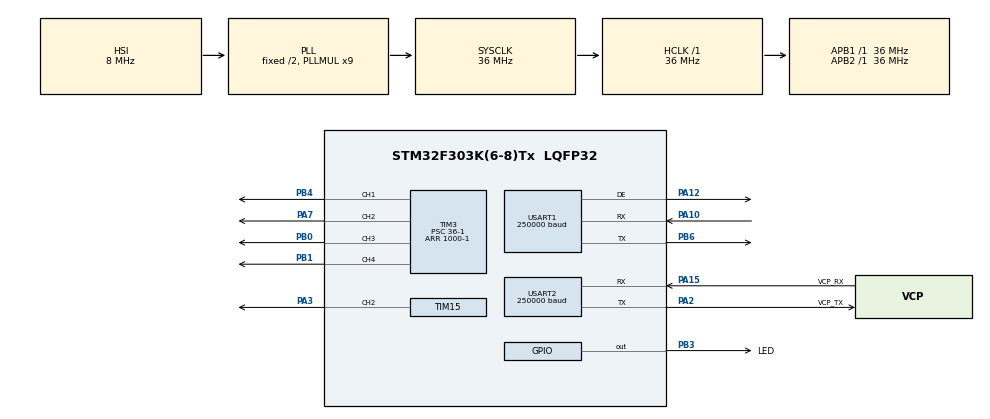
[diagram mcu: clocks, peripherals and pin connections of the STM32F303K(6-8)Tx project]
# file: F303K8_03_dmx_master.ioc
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Mcu.Family=STM32F3
Mcu.Name=STM32F303K(6-8)Tx
Mcu.Package=LQFP32
NVIC.PriorityGroup=NVIC_PRIORITYGROUP_4
NVIC.TIM1_BRK_TIM15_IRQn=true\:0\:0\:false\:false\:true\:true\:true\:true
NVIC.TIM2_IRQn=true\:0\:0\:false\:false\:true\:true\:true\:true
PA10.Mode=Asynchronous
PA10.Signal=USART1_RX
PA12.Mode=Hardware Flow Control (RS485)
PA12.Signal=USART1_DE
PA13.GPIO_Label=SWDIO
PA13.Mode=Serial_Wire
PA13.Signal=SYS_JTMS-SWDIO
PA14.GPIO_Label=SWCLK
PA14.Mode=Serial_Wire
PA14.Signal=SYS_JTCK-SWCLK
PA15.GPIO_Label=VCP_RX
PA15.Mode=Asynchronous
PA15.Signal=USART2_RX
PA2.GPIO_Label=VCP_TX
PA2.Mode=Asynchronous
PA2.Signal=USART2_TX
PA3.Signal=S_TIM15_CH2
PA7.Signal=S_TIM3_CH2
PB0.Signal=S_TIM3_CH3
PB1.Signal=S_TIM3_CH4
PB3.GPIO_Label=LED
PB3.Signal=GPIO_Output
PB4.Signal=S_TIM3_CH1
PB6.Mode=Asynchronous
PB6.Signal=USART1_TX
PF0\ /\ OSC_IN.GPIO_Label=MCO
PF0\ /\ OSC_IN.Mode=HSE-External-Clock-Source
PF0\ /\ OSC_IN.Signal=RCC_OSC_IN
ProjectManager.HeapSize=0x200
ProjectManager.StackSize=0x400
ProjectManager.TargetToolchain=STM32CubeIDE
RCC.AHBFreq_Value=36000000
RCC.APB1Freq_Value=36000000
RCC.APB1TimFreq_Value=36000000
RCC.APB2Freq_Value=36000000
RCC.APB2TimFreq_Value=36000000
RCC.CortexFreq_Value=36000000
RCC.HCLKFreq_Value=36000000
RCC.HSE_VALUE=8000000
RCC.HSI_VALUE=8000000
RCC.PLLMUL=RCC_PLL_MUL9
RCC.SYSCLKFreq_VALUE=36000000
RCC.SYSCLKSourceVirtual=RCC_SYSCLKSOURCE_PLLCLK
RCC.Usart1ClockSelection=RCC_USART1CLKSOURCE_HSI
SH.S_TIM15_CH2.0=TIM15_CH2,Output Compare2 CH2
SH.S_TIM3_CH1.0=TIM3_CH1,PWM Generation1 CH1
SH.S_TIM3_CH2.0=TIM3_CH2,PWM Generation2 CH2
SH.S_TIM3_CH3.0=TIM3_CH3,PWM Generation3 CH3
SH.S_TIM3_CH4.0=TIM3_CH4,PWM Generation4 CH4
TIM15.Channel-Output\ Compare2\ CH2=TIM_CHANNEL_2
TIM15.Period=104
TIM15.Prescaler=36-1
TIM15.Pulse-Output\ Compare2\ CH2=104
TIM2.Period=44
TIM2.Prescaler=36-1
TIM3.Channel-PWM\ Generation1\ CH1=TIM_CHANNEL_1
TIM3.Channel-PWM\ Generation2\ CH2=TIM_CHANNEL_2
TIM3.Channel-PWM\ Generation3\ CH3=TIM_CHANNEL_3
TIM3.Channel-PWM\ Generation4\ CH4=TIM_CHANNEL_4
TIM3.OCPolarity_1=TIM_OCPOLARITY_HIGH
TIM3.OCPolarity_2=TIM_OCPOLARITY_HIGH
TIM3.OCPolarity_3=TIM_OCPOLARITY_HIGH
TIM3.OCPolarity_4=TIM_OCPOLARITY_HIGH
TIM3.Period=1000-1
TIM3.Prescaler=36-1
USART1.BaudRate=250000
USART1.VirtualMode-Asynchronous=VM_ASYNC
USART1.VirtualMode-Hardware\ Flow\ Control\ (RS485)=VM_ASYNC
USART2.BaudRate=250000
USART2.Mode=MODE_TX
USART2.VirtualMode-Asynchronous=VM_ASYNC
VP_TIM15_VS_ClockSourceINT.Mode=Internal
VP_TIM2_VS_ClockSourceINT.Mode=Internal
VP_TIM3_VS_ClockSourceINT.Mode=Internal
board=NUCLEO-F303K8

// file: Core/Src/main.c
/* USER CODE BEGIN Header */
/**
 ******************************************************************************
 * @file           : main.c
 * @brief          : Main program body
 ******************************************************************************
 * @attention
 *
 * Copyright (c) 2024 STMicroelectronics.
 * All rights reserved.
 *
 * This software is licensed under terms that can be found in the LICENSE file
 * in the root directory of this software component.
 * If no LICENSE file comes with this software, it is provided AS-IS.
 *
 ******************************************************************************
 * NUCLEO-F303K8 pwm output
 *
 * https://github.com/kucar17/UART-Interrupt-with-PWM-STM32-Nucleo-F303K8
 * test online edit
 ******************************************************************************
 */
/* USER CODE END Header */
#include "main.h"

/* USER CODE BEGIN Includes */
#include "dmx_transmitter.h"

/* USER CODE END Includes */

/* USER CODE BEGIN PD */

/* For timer with clock 45MHz and prescaler 0*/
#define USEC_COUNT (95/2)

/* USER CODE END PD */

TIM_HandleTypeDef htim2;
TIM_HandleTypeDef htim3;
TIM_HandleTypeDef htim15;

UART_HandleTypeDef huart1;
UART_HandleTypeDef huart2;

/* USER CODE BEGIN PV */
uint16_t pwmR, pwmG, pwmB;
int8_t stepR, stepG = 20, stepB = -40;

/* USER CODE END PV */

void SystemClock_Config(void);
static void MX_GPIO_Init(void);
static void MX_USART2_UART_Init(void);
static void MX_USART1_UART_Init(void);
static void MX_TIM3_Init(void);
static void MX_TIM2_Init(void);
static void MX_TIM15_Init(void);

/* USER CODE BEGIN 0 */
int _write(int file, char *ptr, int len) {
	HAL_UART_Transmit(&huart2, (uint8_t*) ptr, len, HAL_MAX_DELAY);
	return len;
}

/* USER CODE END 0 */

int main(void)
{

  /* MCU Configuration--------------------------------------------------------*/

  /* Reset of all peripherals, Initializes the Flash interface and the Systick. */
  HAL_Init();

  /* Configure the system clock */
  SystemClock_Config();

  /* Initialize all configured peripherals */
  MX_GPIO_Init();
  MX_USART2_UART_Init();
  MX_USART1_UART_Init();
  MX_TIM3_Init();
  MX_TIM2_Init();
  MX_TIM15_Init();
  /* USER CODE BEGIN 2 */

  uint8_t test_packet[512];
  for (int i=0; i<sizeof(test_packet); i++)
    test_packet[i] = i & 0xFF;

	pwmR = 0;
	pwmG = 580;
	pwmB = 900;

	TIM3->CCR1 = pwmR;
	TIM3->CCR2 = pwmG;
	TIM3->CCR3 = pwmB;
	TIM3->CCR4 = 500;
	HAL_TIM_PWM_Start(&htim3, TIM_CHANNEL_1); //coment test
	HAL_TIM_PWM_Start(&htim3, TIM_CHANNEL_2);
	HAL_TIM_PWM_Start(&htim3, TIM_CHANNEL_3);
	HAL_TIM_PWM_Start(&htim3, TIM_CHANNEL_4);

	printf("\r\nSTM32F303 HALinit b0.01\r\n");
	printf("\r\n36MHz internal clock\r\n");
	printf("UART1 250kbps RS485\r\n");
	printf("UART2 250kbps VCP debug port\r\n");
	printf("TIM3 4xPWM@1kHz CH1-PB4, CH2-PA7, CH3-PB0 ,CH4-PB1\r\n");

  /* USER CODE END 2 */

  /* Infinite loop */
  /* USER CODE BEGIN WHILE */
	while (1) {

	    dmx_send(test_packet, sizeof(test_packet));

	    HAL_Delay(1000);

/*
		//HAL_GPIO_TogglePin(LED_GPIO_Port, LED_Pin);
		// HAL_GPIO_TogglePin(LED2_GPIO_Port, LED2_Pin);
		//HAL_Delay(500);
		if (pwmR == 0)    stepR = 10;
		if (pwmR == 1000) stepR = -10;
		pwmR += stepR;
		if (pwmG == 0)    stepG = 20;
		if (pwmG == 1000) stepG = -20;
		pwmG += stepG;
		if (pwmB == 0)    stepB = 40;
		if (pwmB == 1000) stepB = -40;
		pwmB += stepB;

		TIM3->CCR1 = pwmR;
		TIM3->CCR2 = pwmG;
		TIM3->CCR3 = pwmB;
		HAL_Delay(9);
*/
    /* USER CODE END WHILE */

	}
}

void SystemClock_Config(void)
{
  RCC_OscInitTypeDef RCC_OscInitStruct = {0};
  RCC_ClkInitTypeDef RCC_ClkInitStruct = {0};
  RCC_PeriphCLKInitTypeDef PeriphClkInit = {0};

  /** Initializes the RCC Oscillators according to the specified parameters
  * in the RCC_OscInitTypeDef structure.
  */
  RCC_OscInitStruct.OscillatorType = RCC_OSCILLATORTYPE_HSI;
  RCC_OscInitStruct.HSIState = RCC_HSI_ON;
  RCC_OscInitStruct.HSICalibrationValue = RCC_HSICALIBRATION_DEFAULT;
  RCC_OscInitStruct.PLL.PLLState = RCC_PLL_ON;
  RCC_OscInitStruct.PLL.PLLSource = RCC_PLLSOURCE_HSI;
  RCC_OscInitStruct.PLL.PLLMUL = RCC_PLL_MUL9;
  if (HAL_RCC_OscConfig(&RCC_OscInitStruct) != HAL_OK)
  {
    Error_Handler();
  }

  /** Initializes the CPU, AHB and APB buses clocks
  */
  RCC_ClkInitStruct.ClockType = RCC_CLOCKTYPE_HCLK|RCC_CLOCKTYPE_SYSCLK
                              |RCC_CLOCKTYPE_PCLK1|RCC_CLOCKTYPE_PCLK2;
  RCC_ClkInitStruct.SYSCLKSource = RCC_SYSCLKSOURCE_PLLCLK;
  RCC_ClkInitStruct.AHBCLKDivider = RCC_SYSCLK_DIV1;
  RCC_ClkInitStruct.APB1CLKDivider = RCC_HCLK_DIV1;
  RCC_ClkInitStruct.APB2CLKDivider = RCC_HCLK_DIV1;

  if (HAL_RCC_ClockConfig(&RCC_ClkInitStruct, FLASH_LATENCY_1) != HAL_OK)
  {
    Error_Handler();
  }
  PeriphClkInit.PeriphClockSelection = RCC_PERIPHCLK_USART1;
  PeriphClkInit.Usart1ClockSelection = RCC_USART1CLKSOURCE_HSI;
  if (HAL_RCCEx_PeriphCLKConfig(&PeriphClkInit) != HAL_OK)
  {
    Error_Handler();
  }
}

static void MX_TIM2_Init(void)
{

  TIM_ClockConfigTypeDef sClockSourceConfig = {0};
  TIM_MasterConfigTypeDef sMasterConfig = {0};

  htim2.Instance = TIM2;
  htim2.Init.Prescaler = 36-1;
  htim2.Init.CounterMode = TIM_COUNTERMODE_UP;
  htim2.Init.Period = 44;
  htim2.Init.ClockDivision = TIM_CLOCKDIVISION_DIV1;
  htim2.Init.AutoReloadPreload = TIM_AUTORELOAD_PRELOAD_DISABLE;
  if (HAL_TIM_Base_Init(&htim2) != HAL_OK)
  {
    Error_Handler();
  }
  sClockSourceConfig.ClockSource = TIM_CLOCKSOURCE_INTERNAL;
  if (HAL_TIM_ConfigClockSource(&htim2, &sClockSourceConfig) != HAL_OK)
  {
    Error_Handler();
  }
  sMasterConfig.MasterOutputTrigger = TIM_TRGO_RESET;
  sMasterConfig.MasterSlaveMode = TIM_MASTERSLAVEMODE_DISABLE;
  if (HAL_TIMEx_MasterConfigSynchronization(&htim2, &sMasterConfig) != HAL_OK)
  {
    Error_Handler();
  }
  /* USER CODE BEGIN TIM2_Init 2 */

  /*
   * Update flag should be cleaned, to prevent unwanted interrupt. Inerrupt
   * flag is generated earlier, by following call:
   * HAL_TIM_Base_Init -> TIM_Base_SetConfig -> TIMx->EGR = TIM_EGR_UG
   */
  __HAL_TIM_CLEAR_IT(&htim2, TIM_FLAG_UPDATE);
  /* Enable interrupts, but don't enable timer counter, to prevent interrupts */
  __HAL_TIM_ENABLE_IT(&htim2, TIM_IT_UPDATE);

  /* USER CODE END TIM2_Init 2 */

}

static void MX_TIM3_Init(void)
{

  TIM_ClockConfigTypeDef sClockSourceConfig = {0};
  TIM_MasterConfigTypeDef sMasterConfig = {0};
  TIM_OC_InitTypeDef sConfigOC = {0};

  htim3.Instance = TIM3;
  htim3.Init.Prescaler = 36-1;
  htim3.Init.CounterMode = TIM_COUNTERMODE_UP;
  htim3.Init.Period = 1000-1;
  htim3.Init.ClockDivision = TIM_CLOCKDIVISION_DIV1;
  htim3.Init.AutoReloadPreload = TIM_AUTORELOAD_PRELOAD_DISABLE;
  if (HAL_TIM_Base_Init(&htim3) != HAL_OK)
  {
    Error_Handler();
  }
  sClockSourceConfig.ClockSource = TIM_CLOCKSOURCE_INTERNAL;
  if (HAL_TIM_ConfigClockSource(&htim3, &sClockSourceConfig) != HAL_OK)
  {
    Error_Handler();
  }
  if (HAL_TIM_PWM_Init(&htim3) != HAL_OK)
  {
    Error_Handler();
  }
  sMasterConfig.MasterOutputTrigger = TIM_TRGO_RESET;
  sMasterConfig.MasterSlaveMode = TIM_MASTERSLAVEMODE_DISABLE;
  if (HAL_TIMEx_MasterConfigSynchronization(&htim3, &sMasterConfig) != HAL_OK)
  {
    Error_Handler();
  }
  sConfigOC.OCMode = TIM_OCMODE_PWM1;
  sConfigOC.Pulse = 0;
  sConfigOC.OCPolarity = TIM_OCPOLARITY_HIGH;
  sConfigOC.OCFastMode = TIM_OCFAST_DISABLE;
  if (HAL_TIM_PWM_ConfigChannel(&htim3, &sConfigOC, TIM_CHANNEL_1) != HAL_OK)
  {
    Error_Handler();
  }
  if (HAL_TIM_PWM_ConfigChannel(&htim3, &sConfigOC, TIM_CHANNEL_2) != HAL_OK)
  {
    Error_Handler();
  }
  if (HAL_TIM_PWM_ConfigChannel(&htim3, &sConfigOC, TIM_CHANNEL_3) != HAL_OK)
  {
    Error_Handler();
  }
  if (HAL_TIM_PWM_ConfigChannel(&htim3, &sConfigOC, TIM_CHANNEL_4) != HAL_OK)
  {
    Error_Handler();
  }
  HAL_TIM_MspPostInit(&htim3);

}

static void MX_TIM15_Init(void)
{

  TIM_ClockConfigTypeDef sClockSourceConfig = {0};
  TIM_MasterConfigTypeDef sMasterConfig = {0};
  TIM_OC_InitTypeDef sConfigOC = {0};
  TIM_BreakDeadTimeConfigTypeDef sBreakDeadTimeConfig = {0};

  htim15.Instance = TIM15;
  htim15.Init.Prescaler = 36-1;
  htim15.Init.CounterMode = TIM_COUNTERMODE_UP;
  htim15.Init.Period = 104;
  htim15.Init.ClockDivision = TIM_CLOCKDIVISION_DIV1;
  htim15.Init.RepetitionCounter = 0;
  htim15.Init.AutoReloadPreload = TIM_AUTORELOAD_PRELOAD_DISABLE;
  if (HAL_TIM_Base_Init(&htim15) != HAL_OK)
  {
    Error_Handler();
  }
  sClockSourceConfig.ClockSource = TIM_CLOCKSOURCE_INTERNAL;
  if (HAL_TIM_ConfigClockSource(&htim15, &sClockSourceConfig) != HAL_OK)
  {
    Error_Handler();
  }
  if (HAL_TIM_OC_Init(&htim15) != HAL_OK)
  {
    Error_Handler();
  }
  sMasterConfig.MasterOutputTrigger = TIM_TRGO_RESET;
  sMasterConfig.MasterSlaveMode = TIM_MASTERSLAVEMODE_DISABLE;
  if (HAL_TIMEx_MasterConfigSynchronization(&htim15, &sMasterConfig) != HAL_OK)
  {
    Error_Handler();
  }
  sConfigOC.OCMode = TIM_OCMODE_TIMING;
  sConfigOC.Pulse = 104;
  sConfigOC.OCPolarity = TIM_OCPOLARITY_HIGH;
  sConfigOC.OCNPolarity = TIM_OCNPOLARITY_HIGH;
  sConfigOC.OCFastMode = TIM_OCFAST_DISABLE;
  sConfigOC.OCIdleState = TIM_OCIDLESTATE_RESET;
  sConfigOC.OCNIdleState = TIM_OCNIDLESTATE_RESET;
  if (HAL_TIM_OC_ConfigChannel(&htim15, &sConfigOC, TIM_CHANNEL_2) != HAL_OK)
  {
    Error_Handler();
  }
  sBreakDeadTimeConfig.OffStateRunMode = TIM_OSSR_DISABLE;
  sBreakDeadTimeConfig.OffStateIDLEMode = TIM_OSSI_DISABLE;
  sBreakDeadTimeConfig.LockLevel = TIM_LOCKLEVEL_OFF;
  sBreakDeadTimeConfig.DeadTime = 0;
  sBreakDeadTimeConfig.BreakState = TIM_BREAK_DISABLE;
  sBreakDeadTimeConfig.BreakPolarity = TIM_BREAKPOLARITY_HIGH;
  sBreakDeadTimeConfig.BreakFilter = 0;
  sBreakDeadTimeConfig.AutomaticOutput = TIM_AUTOMATICOUTPUT_DISABLE;
  if (HAL_TIMEx_ConfigBreakDeadTime(&htim15, &sBreakDeadTimeConfig) != HAL_OK)
  {
    Error_Handler();
  }
  /* USER CODE BEGIN TIM15_Init 2 */

  /*
    * Update flag should be cleaned, to prevent unwanted interrupt. Inerrupt
    * flag is generated earlier, by following call:
    * HAL_TIM_Base_Init -> TIM_Base_SetConfig -> TIMx->EGR = TIM_EGR_UG
    */
   __HAL_TIM_CLEAR_IT(&htim15, TIM_FLAG_UPDATE);
   /* Enable interrupts, but don't enable timer counter, to prevent interrupts */
   __HAL_TIM_ENABLE_IT(&htim15, TIM_IT_UPDATE);
   __HAL_TIM_ENABLE_IT(&htim15, TIM_IT_CC1);

  /* USER CODE END TIM15_Init 2 */
  HAL_TIM_MspPostInit(&htim15);

}

static void MX_USART1_UART_Init(void)
{

  huart1.Instance = USART1;
  huart1.Init.BaudRate = 250000;
  huart1.Init.WordLength = UART_WORDLENGTH_8B;
  huart1.Init.StopBits = UART_STOPBITS_1;
  huart1.Init.Parity = UART_PARITY_NONE;
  huart1.Init.Mode = UART_MODE_TX_RX;
  huart1.Init.HwFlowCtl = UART_HWCONTROL_NONE;
  huart1.Init.OverSampling = UART_OVERSAMPLING_16;
  huart1.Init.OneBitSampling = UART_ONE_BIT_SAMPLE_DISABLE;
  huart1.AdvancedInit.AdvFeatureInit = UART_ADVFEATURE_NO_INIT;
  if (HAL_RS485Ex_Init(&huart1, UART_DE_POLARITY_HIGH, 0, 0) != HAL_OK)
  {
    Error_Handler();
  }

}

static void MX_USART2_UART_Init(void)
{

  huart2.Instance = USART2;
  huart2.Init.BaudRate = 250000;
  huart2.Init.WordLength = UART_WORDLENGTH_8B;
  huart2.Init.StopBits = UART_STOPBITS_1;
  huart2.Init.Parity = UART_PARITY_NONE;
  huart2.Init.Mode = UART_MODE_TX;
  huart2.Init.HwFlowCtl = UART_HWCONTROL_NONE;
  huart2.Init.OverSampling = UART_OVERSAMPLING_16;
  huart2.Init.OneBitSampling = UART_ONE_BIT_SAMPLE_DISABLE;
  huart2.AdvancedInit.AdvFeatureInit = UART_ADVFEATURE_NO_INIT;
  if (HAL_UART_Init(&huart2) != HAL_OK)
  {
    Error_Handler();
  }

}

static void MX_GPIO_Init(void)
{
  GPIO_InitTypeDef GPIO_InitStruct = {0};

  /* GPIO Ports Clock Enable */
  __HAL_RCC_GPIOF_CLK_ENABLE();
  __HAL_RCC_GPIOA_CLK_ENABLE();
  __HAL_RCC_GPIOB_CLK_ENABLE();

  /*Configure GPIO pin Output Level */
  HAL_GPIO_WritePin(LED_GPIO_Port, LED_Pin, GPIO_PIN_RESET);

  /*Configure GPIO pin : LED_Pin */
  GPIO_InitStruct.Pin = LED_Pin;
  GPIO_InitStruct.Mode = GPIO_MODE_OUTPUT_PP;
  GPIO_InitStruct.Pull = GPIO_NOPULL;
  GPIO_InitStruct.Speed = GPIO_SPEED_FREQ_LOW;
  HAL_GPIO_Init(LED_GPIO_Port, &GPIO_InitStruct);

}

void Error_Handler(void)
{
	__disable_irq();
	while (1) {
	}
}

#ifdef  USE_FULL_ASSERT
/**
  * @brief  Reports the name of the source file and the source line number
  *         where the assert_param error has occurred.
  * @param  file: pointer to the source file name
  * @param  line: assert_param error line source number
  * @retval None
  */
void assert_failed(uint8_t *file, uint32_t line)
{
  /* USER CODE BEGIN 6 */
    /* User can add his own implementation to report the file name and line
     number, ex: printf("Wrong parameters value: file %s on line %d\r\n", file,
     line) */
  /* USER CODE END 6 */
}
#endif /* USE_FULL_ASSERT */
